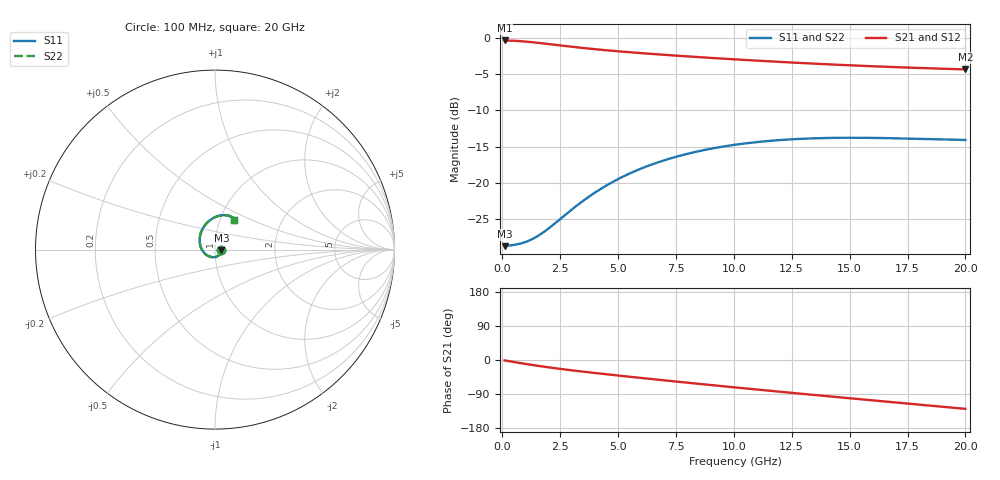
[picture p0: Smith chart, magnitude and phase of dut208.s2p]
! Created with skrf 1.9.0 (http://scikit-rf.org).
# GHz S RI R 50.0
!freq ReS11 ImS11 ReS21 ImS21 ReS12 ImS12 ReS22 ImS22
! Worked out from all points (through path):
!   200 points, 100 MHz to 20 GHz, reference 50 ohm
!   highest |S21| = -0.32 dB at 100 MHz (marker M1); lowest = -4.3 dB at 20 GHz (marker M2)
!   group delay of S21, straight-line fit = 17.1 ps
!   lowest |S11| = -28.8 dB at 100 MHz (marker M3), VSWR 1.08, Z = 53.7 - j0.527 ohm
!   |S11| at or under -10 dB: start of sweep to end of sweep
!   |S22| runs from -28.8 to -13.8 dB; largest |S21 - S12| = 2.5e-15
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0.1  0.0361 -0.0049  0.9633 -0.0172  0.9633 -0.0172  0.0361 -0.0049
0.5  0.031 -0.0206  0.9548 -0.0879  0.9548 -0.0879  0.031 -0.0206
0.9  0.0192 -0.0333  0.9369 -0.1539  0.9369 -0.1539  0.0192 -0.0333
1.2  0.00745 -0.0394  0.9187 -0.1994  0.9187 -0.1994  0.00745 -0.0394
1.5  -0.00567 -0.0421  0.8975 -0.2411  0.8975 -0.2411  -0.00567 -0.0421
1.9  -0.0235 -0.0407  0.8662 -0.2909  0.8662 -0.2909  -0.0235 -0.0407
2.4  -0.0441 -0.0319  0.8249 -0.3446  0.8249 -0.3446  -0.0441 -0.0319
2.9  -0.0609 -0.0175  0.783 -0.3906  0.783 -0.3906  -0.0609 -0.0175
3.5  -0.0751 0.00417  0.7332 -0.438  0.7332 -0.438  -0.0751 0.00417
4.2  -0.0837 0.0319  0.6762 -0.4855  0.6762 -0.4855  -0.0837 0.0319
5  -0.0849 0.0635  0.6121 -0.5317  0.6121 -0.5317  -0.0849 0.0635
5.9  -0.0777 0.0961  0.5405 -0.5754  0.5405 -0.5754  -0.0777 0.0961
6.8  -0.0642 0.1242  0.4692 -0.6111  0.4692 -0.6111  -0.0642 0.1242
7.6  -0.0487 0.1447  0.4059 -0.6365  0.4059 -0.6365  -0.0487 0.1447
8.4  -0.0314 0.1612  0.3431 -0.656  0.3431 -0.656  -0.0314 0.1612
10.1  0.00726 0.1835  0.2124 -0.6798  0.2124 -0.6798  0.00726 0.1835
11.7  0.041 0.1914  0.095 -0.6821  0.095 -0.6821  0.041 0.1914
13.4  0.0703 0.1901  -0.0218 -0.6664  -0.0218 -0.6664  0.0703 0.1901
15  0.0901 0.1838  -0.1232 -0.637  -0.1232 -0.637  0.0901 0.1838
16.7  0.1029 0.1755  -0.2214 -0.5925  -0.2214 -0.5925  0.1029 0.1755
18.4  0.1082 0.1685  -0.3091 -0.5359  -0.3091 -0.5359  0.1082 0.1685
20  0.1082 0.1654  -0.3816 -0.4728  -0.3816 -0.4728  0.1082 0.1654
